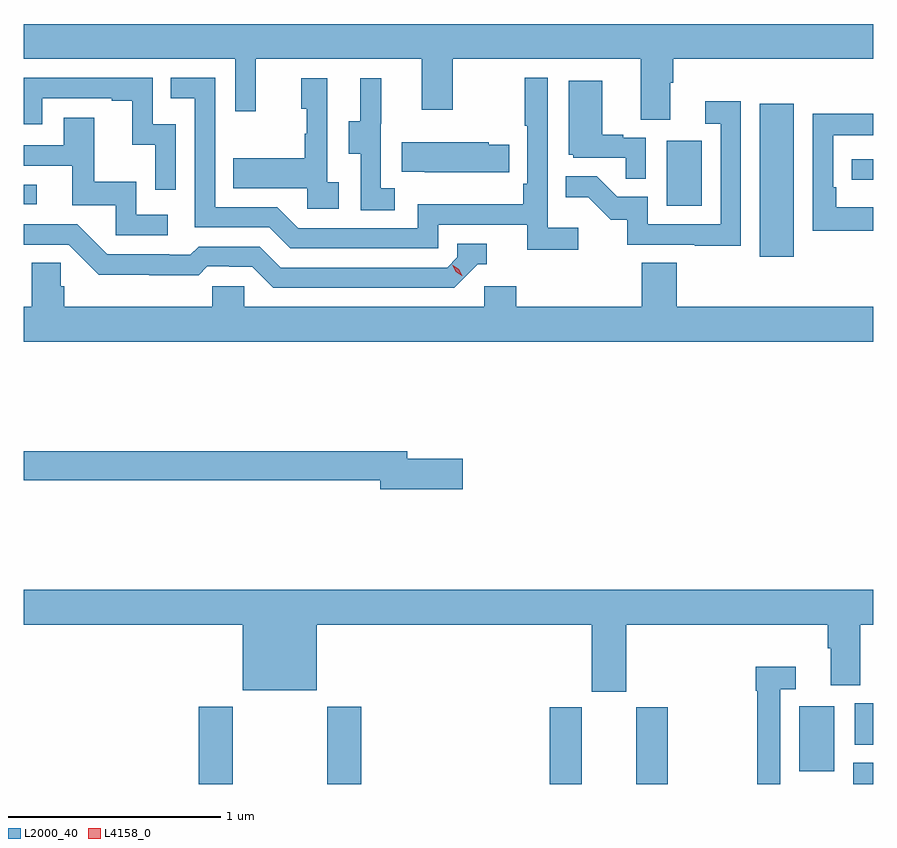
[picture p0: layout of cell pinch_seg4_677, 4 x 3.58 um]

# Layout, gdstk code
import gdstk
lib = gdstk.Library(unit=1e-6, precision=1e-09)
def R(c, l, rs):  # rectangles x0, y0, x1, y1
    for r in rs: c.add(gdstk.rectangle(r[:2], r[2:], *l))
def P(c, l, *ps):  # polygons
    for p in ps: c.add(gdstk.Polygon(p, *l))
L2000_40 = (2000, 40)
L4158_0 = (4158, 0)

pinch_seg4_677 = lib.new_cell('pinch_seg4_677')
R(pinch_seg4_677, L2000_40, [(1108.211,760.105,1108.371,760.468), (1108.816,760.105,1108.976,760.468), (1109.864,760.105,1110.016,760.467), (1110.272,760.105,1110.42,760.467), (1111.293,760.105,1111.388,760.206), (1111.04,760.164,1111.204,760.471), (1111.302,760.291,1111.388,760.485), (1110.854,762.588,1111.015,763.309), (1110.416,762.828,1110.58,763.135), (1107.388,762.834,1107.448,762.927), (1111.287,762.951,1111.388,763.047)])
P(pinch_seg4_677, L2000_40, [(1110.433,763.408),(1110.446,763.408),(1110.446,763.52),(1111.388,763.52),(1111.388,763.684),(1107.388,763.684),(1107.388,763.52),(1108.383,763.52),(1108.383,763.272),(1108.481,763.272),(1108.481,763.52),(1109.261,763.52),(1109.261,763.281),(1109.409,763.281),(1109.409,763.52),(1110.293,763.52),(1110.293,763.234),(1110.433,763.234)],
  [(1109.998,762.724),(1109.856,762.724),(1109.856,763.432),(1109.748,763.432),(1109.748,763.204),(1109.76,763.204),(1109.76,762.931),(1109.74,762.931),(1109.74,762.835),(1109.244,762.835),(1109.244,762.723),(1108.68,762.723),(1108.581,762.822),(1108.29,762.822),(1108.29,763.431),(1108.081,763.431),(1108.081,763.335),(1108.194,763.335),(1108.194,762.726),(1108.544,762.726),(1108.643,762.627),(1109.34,762.627),(1109.34,762.738),(1109.759,762.738),(1109.759,762.622),(1109.998,762.622)],
  [(1108.104,763.212),(1107.996,763.212),(1107.996,763.431),(1107.388,763.431),(1107.388,763.212),(1107.474,763.212),(1107.474,763.335),(1107.803,763.335),(1107.803,763.323),(1107.899,763.323),(1107.899,763.115),(1108.008,763.115),(1108.008,762.903),(1108.104,762.903)],
  [(1108.87,762.938),(1108.818,762.938),(1108.818,763.429),(1108.694,763.429),(1108.694,763.284),(1108.72,763.284),(1108.72,763.166),(1108.71,763.166),(1108.71,763.051),(1108.375,763.051),(1108.375,762.911),(1108.722,762.911),(1108.722,762.813),(1108.87,762.813)],
  [(1109.134,762.911),(1109.07,762.911),(1109.07,763.215),(1109.072,763.215),(1109.072,763.429),(1108.973,763.429),(1108.973,763.227),(1108.919,763.227),(1108.919,763.072),(1108.974,763.072),(1108.974,762.808),(1109.134,762.808)],
  [(1110.318,763.149),(1110.212,763.149),(1110.212,763.162),(1110.112,763.162),(1110.112,763.417),(1109.954,763.417),(1109.954,763.068),(1109.976,763.068),(1109.976,763.053),(1110.223,763.053),(1110.223,762.955),(1110.318,762.955)],
  [(1110.765,763.321),(1110.597,763.321),(1110.597,763.215),(1110.669,763.215),(1110.669,762.741),(1110.327,762.741),(1110.327,762.87),(1110.183,762.87),(1110.085,762.968),(1109.941,762.968),(1109.941,762.869),(1110.045,762.869),(1110.152,762.762),(1110.229,762.762),(1110.229,762.645),(1110.547,762.645),(1110.547,762.64),(1110.765,762.64)],
  [(1111.388,762.82),(1111.214,762.82),(1111.214,762.916),(1111.2,762.916),(1111.2,763.161),(1111.388,763.161),(1111.388,763.262),(1111.104,763.262),(1111.104,762.711),(1111.388,762.711)],
  [(1108.066,762.786),(1107.918,762.786),(1107.918,762.94),(1107.719,762.94),(1107.719,763.243),(1107.575,763.243),(1107.575,763.113),(1107.388,763.113),(1107.388,763.017),(1107.617,763.017),(1107.617,762.831),(1107.822,762.831),(1107.822,762.69),(1108.066,762.69)],
  [(1109.675,763.116),(1109.577,763.116),(1109.577,763.126),(1109.167,763.126),(1109.167,762.989),(1109.275,762.989),(1109.275,762.986),(1109.675,762.986)],
  [(1109.526,762.552),(1109.569,762.552),(1109.569,762.648),(1109.43,762.648),(1109.43,762.585),(1109.382,762.537),(1108.599,762.537),(1108.5,762.636),(1108.211,762.636),(1108.172,762.597),(1108.073,762.597),(1108.073,762.6),(1107.78,762.6),(1107.639,762.741),(1107.388,762.741),(1107.388,762.645),(1107.6,762.645),(1107.742,762.503),(1107.978,762.503),(1107.978,762.501),(1108.211,762.501),(1108.253,762.543),(1108.356,762.543),(1108.356,762.54),(1108.463,762.54),(1108.562,762.441),(1109.415,762.441)],
  [(1111.388,762.352),(1110.464,762.352),(1110.464,762.56),(1110.299,762.56),(1110.299,762.352),(1109.708,762.352),(1109.708,762.45),(1109.556,762.45),(1109.556,762.352),(1108.425,762.352),(1108.425,762.45),(1108.275,762.45),(1108.275,762.352),(1107.578,762.352),(1107.578,762.45),(1107.563,762.45),(1107.563,762.56),(1107.426,762.56),(1107.426,762.352),(1107.388,762.352),(1107.388,762.188),(1111.388,762.188)],
  [(1109.455,761.636),(1109.194,761.636),(1109.194,761.672),(1107.388,761.672),(1107.388,761.536),(1109.066,761.536),(1109.066,761.494),(1109.455,761.494)],
  [(1110.226,760.856),(1111.175,760.856),(1111.175,760.744),(1111.187,760.744),(1111.187,760.57),(1111.327,760.57),(1111.327,760.856),(1111.388,760.856),(1111.388,761.02),(1107.388,761.02),(1107.388,760.856),(1108.418,760.856),(1108.418,760.547),(1108.768,760.547),(1108.768,760.856),(1110.062,760.856),(1110.062,760.539),(1110.226,760.539)],
  [(1110.951,760.551),(1111.024,760.551),(1111.024,760.657),(1110.835,760.657),(1110.835,760.544),(1110.843,760.544),(1110.843,760.105),(1110.951,760.105)])
P(pinch_seg4_677, L4158_0, [(1109.451,762.498),(1109.421,762.517),(1109.405,762.55),(1109.405,762.55),(1109.405,762.55),(1109.436,762.53),(1109.452,762.498),(1109.452,762.498)])

lib.write_gds('pinch_seg4_677.gds')
